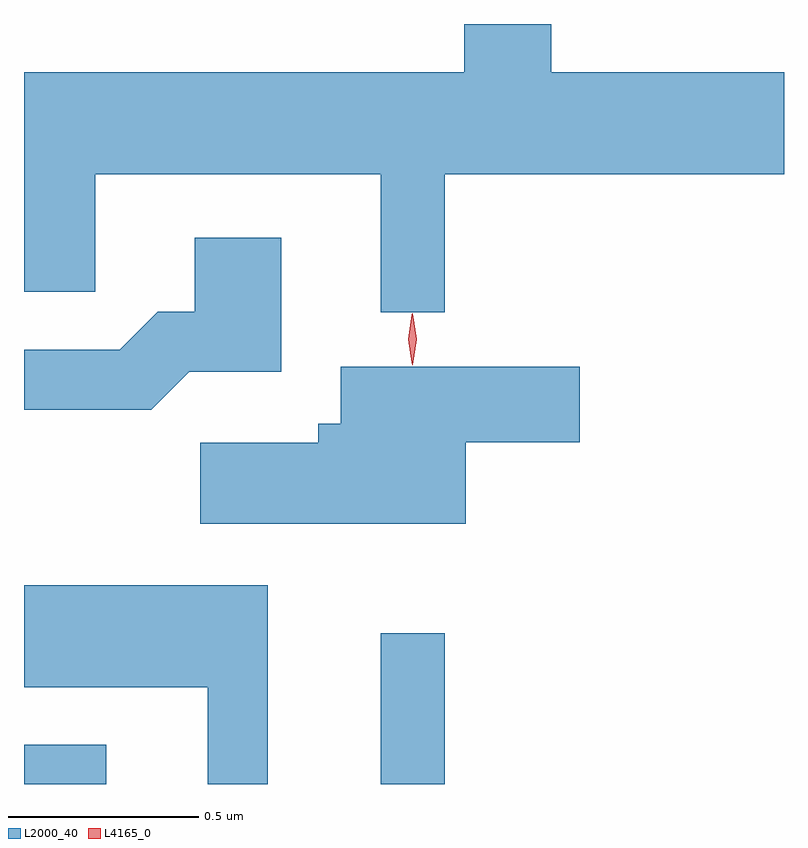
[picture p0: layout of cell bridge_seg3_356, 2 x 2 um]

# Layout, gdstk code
import gdstk
lib = gdstk.Library(unit=1e-6, precision=1e-09)
def R(c, l, rs):  # rectangles x0, y0, x1, y1
    for r in rs: c.add(gdstk.rectangle(r[:2], r[2:], *l))
def P(c, l, *ps):  # polygons
    for p in ps: c.add(gdstk.Polygon(p, *l))
L2000_40 = (2000, 40)
L4165_0 = (4165, 0)

bridge_seg3_356 = lib.new_cell('bridge_seg3_356')
R(bridge_seg3_356, L2000_40, [(602.832,1124.411,603.049,1124.514), (603.771,1124.411,603.939,1124.808)])
P(bridge_seg3_356, L2000_40, [(603.939,1126.016),(604.832,1126.016),(604.832,1126.284),(604.219,1126.284),(604.219,1126.411),(603.991,1126.411),(603.991,1126.284),(602.832,1126.284),(602.832,1125.706),(603.019,1125.706),(603.019,1126.016),(603.771,1126.016),(603.771,1125.653),(603.939,1125.653)],
  [(603.267,1125.496),(603.509,1125.496),(603.509,1125.849),(603.281,1125.849),(603.281,1125.654),(603.184,1125.654),(603.084,1125.554),(602.832,1125.554),(602.832,1125.396),(603.167,1125.396)],
  [(603.994,1125.311),(604.294,1125.311),(604.294,1125.509),(603.666,1125.509),(603.666,1125.359),(603.606,1125.359),(603.606,1125.309),(603.296,1125.309),(603.296,1125.096),(603.994,1125.096)],
  [(603.474,1124.934),(602.832,1124.934),(602.832,1124.666),(603.316,1124.666),(603.316,1124.411),(603.474,1124.411)])
P(bridge_seg3_356, L4165_0, [(603.855,1125.513),(603.854,1125.514),(603.845,1125.581),(603.854,1125.649),(603.855,1125.65),(603.855,1125.649),(603.865,1125.581),(603.855,1125.514)],
  [(603.853,1125.518),(603.853,1125.519),(603.843,1125.582),(603.853,1125.646),(603.853,1125.647),(603.854,1125.646),(603.863,1125.582),(603.854,1125.519)])

lib.write_gds('bridge_seg3_356.gds')
